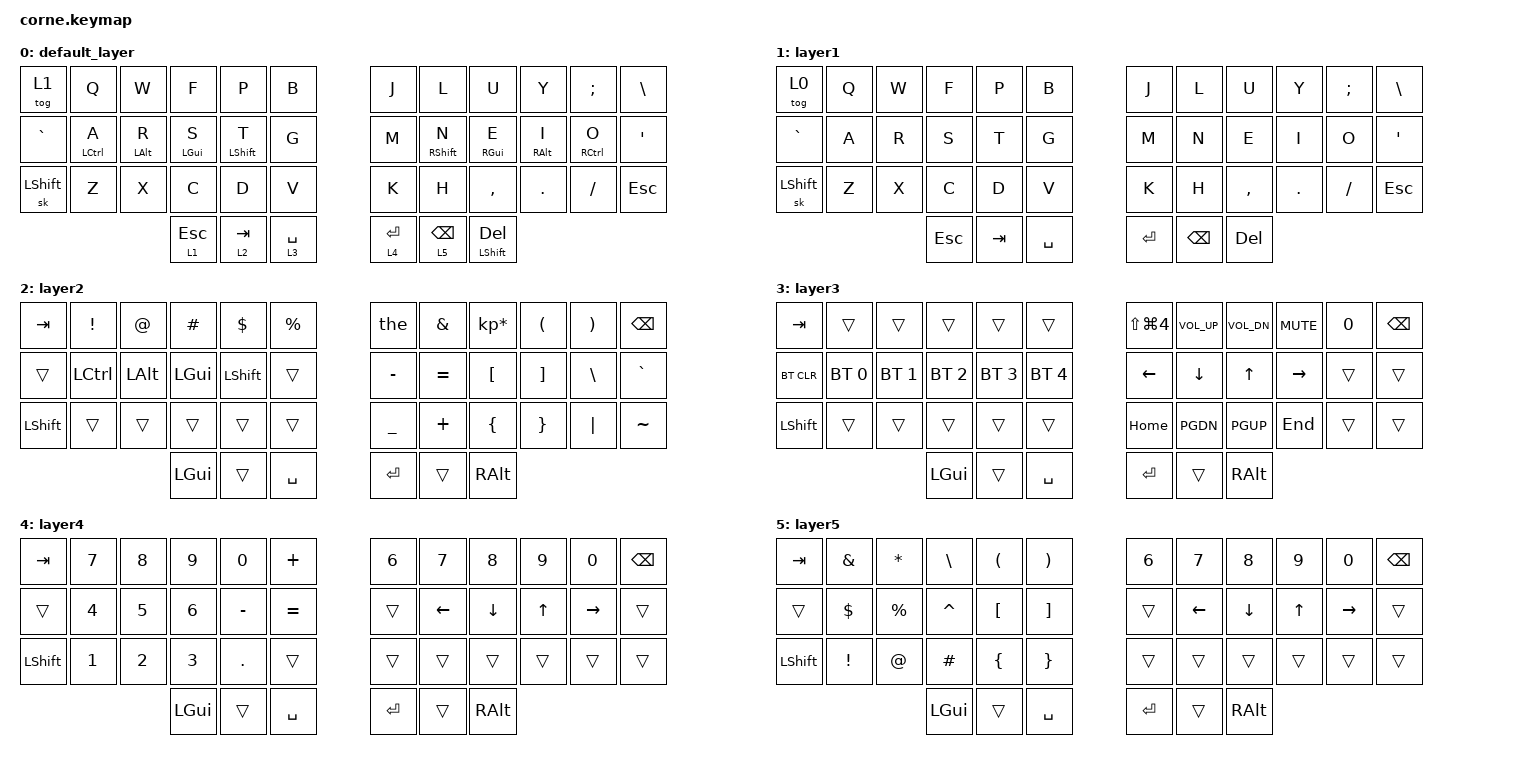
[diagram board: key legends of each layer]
/*
 * Copyright (c) 2020 The ZMK Contributors
 *
 * SPDX-License-Identifier: MIT
 */

#include <behaviors.dtsi>
#include <dt-bindings/zmk/keys.h>
#include <dt-bindings/zmk/bt.h>
&mt {
   quick-tap-ms = <200>;
   flavor = "tap-preferred";
   tapping_term_ms = <275>;
};

&sk {
   quick-release;
};

/ {
    macros {
        the: the {
            label = "ZM_the";
            compatible = "zmk,behavior-macro";
            #binding-cells = <0>;
            bindings
                = <&kp T &kp H &kp E &kp SPACE> 
                ;
        };
    };
};

&lt{
   quick-tap-ms = <200>;
   flavor = "tap-preferred";
   tapping_term_ms = <275>;
};

/ {
        keymap {
                compatible = "zmk,keymap";

                default_layer {
// -----------------------------------------------------------------------------------------
// |  TAB |  Q  |  W  |  E  |  R  |  T  |   |  Y  |  U   |  I  |  O  |  P  | BKSP |
// | CTRL |  A  |  S  |  D  |  F  |  G  |   |  H  |  J   |  K  |  L  |  ;  |  '   |
// | SHFT |  Z  |  X  |  C  |  V  |  B  |   |  N  |  M   |  ,  |  .  |  /  | ESC  |
//                    | GUI | LWR | SPC |   | ENT | RSE  | ALT |
                        bindings = <
   &tog 1   &kp Q  &kp W &kp F     &kp P     &kp B         &kp J     &kp L      &kp U         &kp Y   &kp SEMI &kp BSLH
   &kp GRAVE &mt LCTRL A  &mt LALT R  &mt LGUI S  &mt LSHFT T      &kp G         &kp M     &mt RSHFT N  &mt RGUI E  &mt RALT I  &mt RCTRL O      &kp SQT
   &sk LSHIFT &kp Z &kp X &kp C     &kp D     &kp V         &kp K     &kp H      &kp COMMA     &kp DOT &kp FSLH &kp ESC
                          &lt 1 ESC &lt 2 TAB &lt 3 SPACE   &lt 4 RET &lt 5 BSPC &mt LSHFT DEL
                        >;
                };
                layer1 {
// gaming colemak
// -----------------------------------------------------------------------------------------
// |  TAB |  1  |  2  |  3  |  4  |  5  |   |  6  |  7  |  8  |  9  |  0  | BKSP |
// | BTCLR| BT1 | BT2 | BT3 | BT4 | BT5 |   | LFT | DWN |  UP | RGT |     |      |
// | SHFT |     |     |     |     |     |   |     |     |     |     |     |      |
//                    | GUI |     | SPC |   | ENT |     | ALT |
                        bindings = <
   &tog 0   &kp Q  &kp W &kp F     &kp P     &kp B         &kp J     &kp L      &kp U         &kp Y   &kp SEMI &kp BSLH
   &kp GRAVE &kp A  &kp R  &kp S  &kp T      &kp G         &kp M     &kp N  &kp E  &kp I  &kp O      &kp SQT
   &sk LSHIFT &kp Z &kp X &kp C     &kp D     &kp V         &kp K     &kp H      &kp COMMA     &kp DOT &kp FSLH &kp ESC
                          &kp ESC &kp TAB &kp SPACE   &kp RET &kp BSPC &kp DEL
                        >;
                };

                layer2 {
// -----------------------------------------------------------------------------------------
// |  TAB |  !  |  @  |  #  |  $  |  %  |   |  ^  |  &  |  *  |  (  |  )  | BKSP |
// | CTRL |     |     |     |     |     |   |  -  |  =  |  [  |  ]  |  \  |  `   |
// | SHFT |     |     |     |     |     |   |  _  |  +  |  {  |  }  | "|" |  ~   |
//                    | GUI |     | SPC |   | ENT |     | ALT |
                        bindings = <
   &kp  TAB  &kp EXCL   &kp AT          &kp HASH &kp DLLR       &kp PRCNT   &the &kp AMPS  &kp KP_MULTIPLY &kp LPAR &kp RPAR &kp BSPC
   &trans    &kp LCTRL  &kp LALT        &kp LGUI &kp LSHFT      &trans      &kp MINUS &kp EQUAL &kp LBKT        &kp RBKT &kp BSLH &kp GRAVE
   &kp LSHFT &trans     &trans          &trans   &trans         &trans      &kp UNDER &kp PLUS  &kp LBRC        &kp RBRC &kp PIPE &kp TILDE
                    	                &kp LGUI &trans         &kp SPACE   &kp RET   &trans    &kp RALT
                        >;
                };

                layer3 {
// -----------------------------------------------------------------------------------------
// |  TAB |  1  |  2  |  3  |  4  |  5  |   |  6  |  7  |  8  |  9  |  0  | BKSP |
// | BTCLR| BT1 | BT2 | BT3 | BT4 | BT5 |   | LFT | DWN |  UP | RGT |     |      |
// | SHFT |     |     |     |     |     |   |     |     |     |     |     |      |
//                    | GUI |     | SPC |   | ENT |     | ALT |
                        bindings = <
   &kp TAB    &trans       &trans       &trans       &trans       &trans         &kp LS(LG(N4)) &kp K_VOL_UP   &kp K_VOL_DN   &kp K_MUTE   &kp N0    &kp BSPC
   &bt BT_CLR &bt BT_SEL 0 &bt BT_SEL 1 &bt BT_SEL 2 &bt BT_SEL 3 &bt BT_SEL 4         &kp LEFT &kp DOWN &kp UP   &kp RIGHT &trans   &trans
   &kp LSHFT  &trans       &trans       &trans       &trans       &trans         &kp HOME   &kp PGDN   &kp PGUP   &kp END   &trans    &trans
                          	        &kp LGUI     &trans       &kp SPACE      &kp RET  &trans   &kp RALT
                        >;
                };

                layer4 {
// -----------------------------------------------------------------------------------------
// |  TAB |  1  |  2  |  3  |  4  |  5  |   |  6  |  7  |  8  |  9  |  0  | BKSP |
// | BTCLR| BT1 | BT2 | BT3 | BT4 | BT5 |   | LFT | DWN |  UP | RGT |     |      |
// | SHFT |     |     |     |     |     |   |     |     |     |     |     |      |
//                    | GUI |     | SPC |   | ENT |     | ALT |
                        bindings = <
   &kp TAB    &kp N7       &kp N8       &kp N9       &kp N0       &kp PLUS         &kp N6   &kp N7   &kp N8   &kp N9   &kp N0    &kp BSPC
   &trans     &kp N4       &kp N5       &kp N6       &kp MINUS    &kp EQUAL	  &trans   &kp LEFT &kp DOWN &kp UP   &kp RIGHT &trans
   &kp LSHFT  &kp N1       &kp N2       &kp N3       &kp DOT      &trans         &trans   &trans   &trans   &trans   &trans    &trans
                          	        &kp LGUI     &trans       &kp SPACE      &kp RET  &trans   &kp RALT
                        >;
                };

                layer5 {
// -----------------------------------------------------------------------------------------
// |  TAB |  1  |  2  |  3  |  4  |  5  |   |  6  |  7  |  8  |  9  |  0  | BKSP |
// | BTCLR| BT1 | BT2 | BT3 | BT4 | BT5 |   | LFT | DWN |  UP | RGT |     |      |
// | SHFT |     |     |     |     |     |   |     |     |     |     |     |      |
//                    | GUI |     | SPC |   | ENT |     | ALT |
                        bindings = <
   &kp TAB    &kp AMPS       &kp STAR        &kp BACKSLASH       &kp LPAR       &kp RPAR         &kp N6   &kp N7   &kp N8   &kp N9   &kp N0    &kp BSPC
   &trans     &kp DLLR       &kp PRCNT       &kp CARET       &kp LBKT    &kp RBKT	  &trans   &kp LEFT &kp DOWN &kp UP   &kp RIGHT &trans
   &kp LSHFT  &kp EXCL       &kp AT       &kp HASH       &kp LBRC      &kp RBRC         &trans   &trans   &trans   &trans   &trans    &trans
                          	        &kp LGUI     &trans       &kp SPACE      &kp RET  &trans   &kp RALT
                        >;
                };
        };
};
